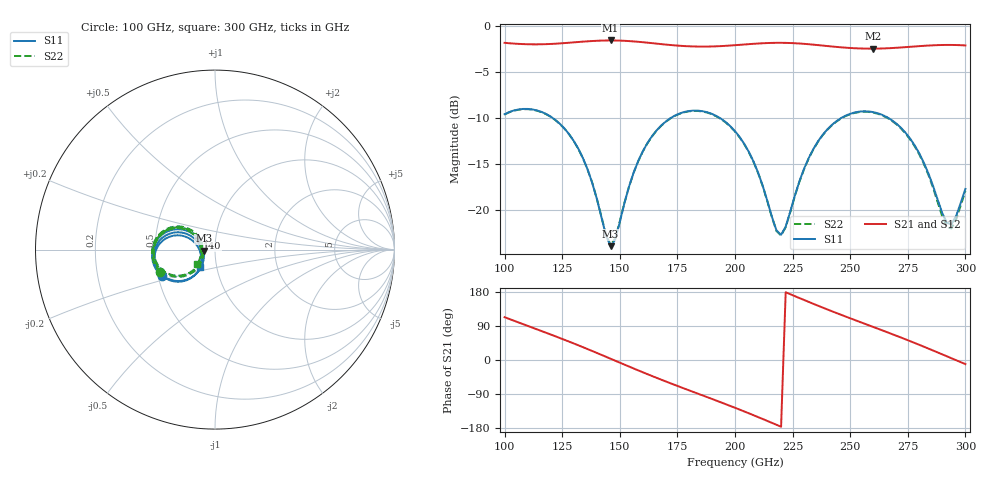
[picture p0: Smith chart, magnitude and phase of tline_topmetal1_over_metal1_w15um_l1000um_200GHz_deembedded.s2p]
! Created with skrf 2.0.1 (http://scikit-rf.org).
# GHz S DB R 50.0
!freq dBS11 angS11 dBS21 angS21 dBS12 angS12 dBS22 angS22
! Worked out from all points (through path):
!   101 points, 100 GHz to 300 GHz, reference 50 ohm
!   highest |S21| = -1.61 dB at 146 GHz (marker M1); lowest = -2.5 dB at 260 GHz (marker M2)
!   group delay of S21, straight-line fit = 6.73 ps
!   lowest |S11| = -23.9 dB at 146 GHz (marker M3), VSWR 1.14, Z = 44 - j0.548 ohm
!   |S11| at or under -10 dB: 120.7 GHz to 172.3 GHz (51.54 GHz wide, 35.2 % of centre); 193.2 GHz to 246.3 GHz (53.05 GHz wide, 24.1 % of centre); 266.4 GHz to end of sweep
!   |S22| runs from -23.8 to -9.1 dB; largest |S21 - S12| = 5e-16
!   S11 on the Smith chart (normalised r, x): 100 GHz: 0.52, -0.17; 140 GHz: 0.82, +0.11; 300 GHz: 0.83, -0.17
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100  -9.62 -153.9  -1.87 113.0  -1.87 113.0  -9.64 -157.5
108  -9.04 -169.2  -2.01 94.6  -2.01 94.6  -9.07 -173.1
118  -9.59 172.0  -2.01 71.9  -2.01 71.9  -9.61 167.8
134  -14.38 146.4  -1.74 33.8  -1.74 33.8  -14.39 141.7
140  -18.77 146.7  -1.65 18.7  -1.65 18.7  -18.74 142.0
146  -23.93 -174.4  -1.61 3.3  -1.61 3.3  -23.79 -179.8
148  -23.22 -152.3  -1.62 -1.8  -1.62 -1.8  -23.11 -158.2
158  -14.69 -128.6  -1.76 -27.4  -1.76 -27.4  -14.71 -134.8
168  -10.83 -142.9  -2.01 -52.0  -2.01 -52.0  -10.86 -149.4
184  -9.23 -171.8  -2.27 -89.0  -2.27 -89.0  -9.27 -178.8
200  -11.45 160.6  -2.13 -126.1  -2.13 -126.1  -11.50 153.0
210  -15.93 150.4  -1.94 -150.6  -1.94 -150.6  -15.98 142.4
218  -22.22 175.8  -1.87 -171.0  -1.87 -171.0  -22.29 167.6
220  -22.70 -165.6  -1.87 -176.1  -1.87 -176.1  -22.77 -173.9
234  -13.40 -130.8  -2.07 148.3  -2.07 148.3  -13.44 -139.6
246  -10.04 -148.9  -2.36 119.4  -2.36 119.4  -10.09 -158.3
260  -9.39 -173.2  -2.50 87.2  -2.50 87.2  -9.44 176.6
268  -10.25 173.3  -2.44 68.8  -2.44 68.8  -10.31 162.6
280  -13.87 157.3  -2.23 40.0  -2.23 40.0  -13.98 145.8
292  -21.42 -175.6  -2.10 9.7  -2.10 9.7  -21.88 172.8
296  -20.64 -145.4  -2.11 -0.6  -2.11 -0.6  -21.02 -155.5
300  -17.72 -130.7  -2.15 -10.9  -2.15 -10.9  -17.93 -140.8
